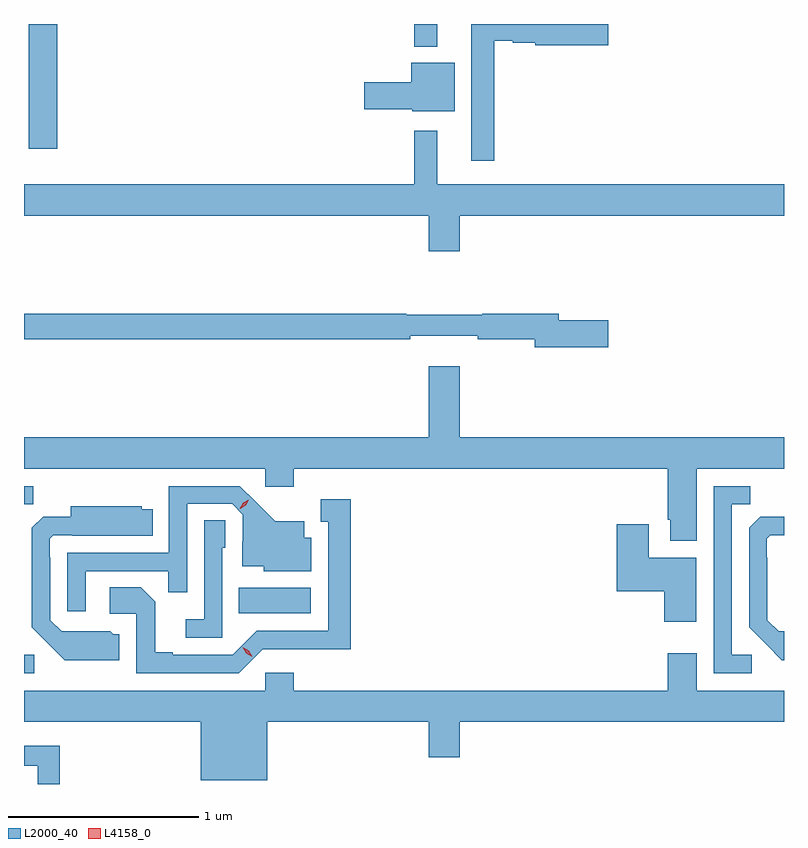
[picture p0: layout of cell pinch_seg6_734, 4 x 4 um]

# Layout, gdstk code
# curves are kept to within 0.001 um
import gdstk
lib = gdstk.Library(unit=1e-6, precision=1e-09)
def R(c, l, rs):  # rectangles x0, y0, x1, y1
    for r in rs: c.add(gdstk.rectangle(r[:2], r[2:], *l))
def P(c, l, *ps):  # polygons
    for p in ps: c.add(gdstk.Polygon(p, *l))
L2000_40 = (2000, 40)
L4158_0 = (4158, 0)

pinch_seg6_734 = lib.new_cell('pinch_seg6_734')
R(pinch_seg6_734, L2000_40, [(618.423,947.592,618.478,947.688), (619.552,947.906,619.933,948.04), (618.423,948.481,618.471,948.576), (618.449,950.352,618.599,951.008), (620.478,950.888,620.599,951.008)])
P(pinch_seg6_734, L2000_40, [(620.899,950.921),(620.996,950.921),(620.996,950.909),(621.114,950.909),(621.114,950.897),(621.499,950.897),(621.499,951.008),(620.777,951.008),(620.777,950.289),(620.899,950.289)],
  [(620.689,950.803),(620.462,950.803),(620.462,950.702),(620.214,950.702),(620.214,950.56),(620.466,950.56),(620.466,950.549),(620.689,950.549)],
  [(620.716,950),(622.423,950),(622.423,950.164),(620.599,950.164),(620.599,950.446),(620.478,950.446),(620.478,950.164),(618.423,950.164),(618.423,950),(620.552,950),(620.552,949.812),(620.716,949.812)],
  [(621.499,949.448),(621.238,949.448),(621.238,949.484),(620.834,949.484),(620.834,949.477),(620.434,949.477),(620.434,949.484),(618.423,949.484),(618.423,949.348),(620.456,949.348),(620.456,949.367),(620.812,949.367),(620.812,949.348),(621.11,949.348),(621.11,949.306),(621.499,949.306)],
  [(621.964,948.668),(622.423,948.668),(622.423,948.832),(620.716,948.832),(620.716,949.207),(620.552,949.207),(620.552,948.832),(618.423,948.832),(618.423,948.668),(619.692,948.668),(619.692,948.573),(619.844,948.573),(619.844,948.668),(621.812,948.668),(621.812,948.4),(621.824,948.4),(621.824,948.288),(621.964,948.288)],
  [(622.252,947.688),(622.149,947.688),(622.149,948.481),(622.245,948.481),(622.245,948.576),(622.053,948.576),(622.053,947.592),(622.252,947.592)],
  [(618.747,948.129),(619.183,948.129),(619.183,948.016),(619.281,948.016),(619.281,948.483),(619.518,948.483),(619.575,948.426),(619.575,948.284),(619.571,948.284),(619.571,948.155),(619.686,948.155),(619.686,948.128),(619.936,948.128),(619.936,948.304),(619.897,948.304),(619.897,948.391),(619.745,948.391),(619.558,948.576),(619.185,948.576),(619.185,948.225),(618.651,948.225),(618.651,947.916),(618.747,947.916)],
  [(619.68,947.718),(620.143,947.717),(620.143,948.508),(619.985,948.508),(619.985,948.387),(620.024,948.387),(620.024,947.814),(619.647,947.814),(619.521,947.688),(619.207,947.688),(619.207,947.701),(619.113,947.701),(619.113,947.968),(619.037,948.044),(618.873,948.044),(618.873,947.904),(619.014,947.904),(619.014,947.592),(619.554,947.592)],
  [(618.925,947.796),(618.894,947.796),(618.878,947.812),(618.621,947.811),(618.561,947.871),(618.561,948.2),(618.558,948.2),(618.558,948.3),(618.576,948.318),(618.676,948.318),(618.676,948.314),(619.1,948.314),(619.1,948.454),(619.044,948.454),(619.044,948.469),(618.668,948.469),(618.668,948.415),(618.524,948.415),(618.465,948.356),(618.465,947.834),(618.637,947.66),(618.925,947.66)],
  [(622.423,947.811),(622.395,947.811),(622.335,947.871),(622.335,948.2),(622.332,948.2),(622.332,948.3),(622.35,948.318),(622.423,948.318),(622.423,948.415),(622.298,948.415),(622.239,948.356),(622.239,947.834),(622.411,947.66),(622.423,947.66)],
  [(619.467,948.252),(619.482,948.252),(619.482,948.395),(619.371,948.395),(619.371,947.875),(619.275,947.875),(619.275,947.778),(619.467,947.778)],
  [(621.961,948.199),(621.712,948.199),(621.712,948.376),(621.542,948.376),(621.542,948.023),(621.794,948.023),(621.794,947.862),(621.961,947.862)],
  [(619.702,947.336),(620.552,947.336),(620.552,947.148),(620.716,947.148),(620.716,947.336),(622.423,947.336),(622.423,947.5),(621.964,947.5),(621.964,947.695),(621.812,947.695),(621.812,947.5),(619.844,947.5),(619.844,947.593),(619.692,947.593),(619.692,947.5),(618.423,947.5),(618.423,947.336),(619.352,947.336),(619.352,947.027),(619.702,947.027)],
  [(618.611,947.209),(618.423,947.209),(618.423,947.103),(618.495,947.103),(618.495,947.008),(618.611,947.008)])
P(pinch_seg6_734, L4158_0, [(619.624,947.677),(619.592,947.695),(619.574,947.727),(619.574,947.728),(619.575,947.728),(619.606,947.709),(619.624,947.677),(619.624,947.677)],
  [(619.559,948.458),(619.559,948.458),(619.576,948.488),(619.607,948.503),(619.607,948.503),(619.607,948.503),(619.59,948.474),(619.56,948.458)])

lib.write_gds('pinch_seg6_734.gds')
